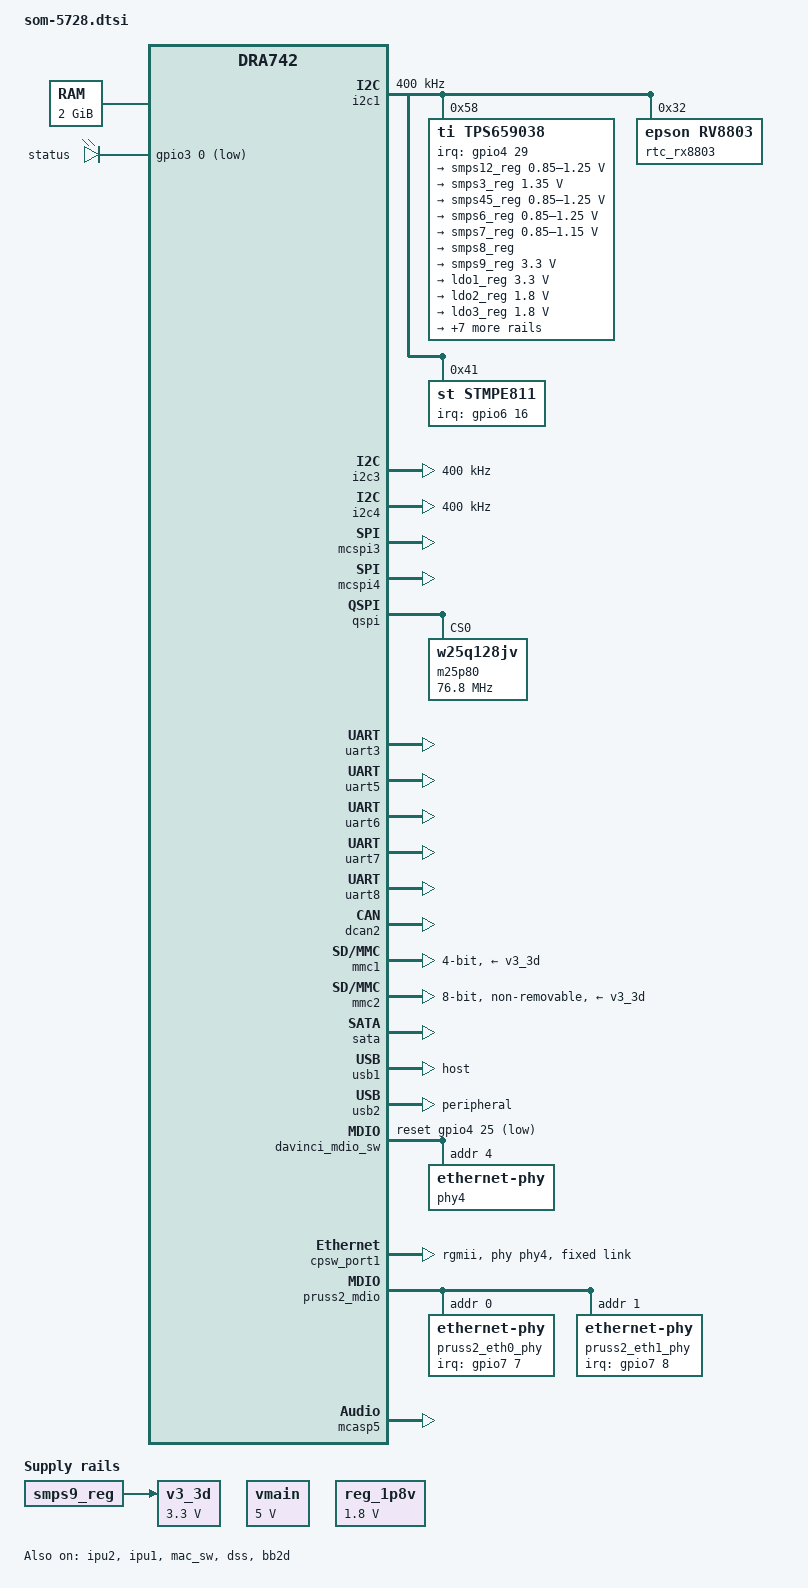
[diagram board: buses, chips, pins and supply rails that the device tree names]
/*
 * Copyright (C) 2014-2016 Texas Instruments Incorporated - http://www.ti.com/
 *
 * This program is free software; you can redistribute it and/or modify
 * it under the terms of the GNU General Public License version 2 as
 * published by the Free Software Foundation.
 */
/dts-v1/;

#include "am5728.dtsi"
#include "am57xx-commercial-grade.dtsi"

// #include "dra74x-mmc-iodelay.dtsi"
#include "som5728-mmc-iodelay.dtsi"

#include "dra74-ipu-dsp-common.dtsi"

#include <dt-bindings/gpio/gpio.h>
#include <dt-bindings/interrupt-controller/irq.h>

/ {
	compatible = "emac,som5728", "ti,am5728-idk", "ti,am5728", "ti,dra742", "ti,dra74", "ti,dra7";

	aliases {
		rtc0 = &rtc_rx8803;
		rtc1 = &tps659038_rtc;
		rtc2 = &rtc;
        qspi = &qspi;
		spi3 = &mcspi3;
		spi4 = &mcspi4;
        ethernet2 = &pruss2_emac0;
		ethernet3 = &pruss2_emac1;
        mmcblk0 = &mmc1;
        mmcblk1 = &mmc2;
	};

	chosen {
		stdout-path = &uart3;
	};

	memory@0 {
		device_type = "memory";
		reg = <0x0 0x80000000 0x0 0x80000000>;
	};
	
	reserved-memory {
		#address-cells = <2>;
		#size-cells = <2>;
		ranges;

		ipu2_memory_region: ipu2-memory@95800000 {
			compatible = "shared-dma-pool";
			reg = <0x0 0x95800000 0x0 0x3800000>;
			reusable;
			status = "okay";
		};

		dsp1_memory_region: dsp1-memory@99000000 {
			compatible = "shared-dma-pool";
			reg = <0x0 0x99000000 0x0 0x4000000>;
			reusable;
			status = "okay";
		};

		ipu1_memory_region: ipu1-memory@9d000000 {
			compatible = "shared-dma-pool";
			reg = <0x0 0x9d000000 0x0 0x2000000>;
			reusable;
			status = "okay";
		};

		dsp2_memory_region: dsp2-memory@9f000000 {
			compatible = "shared-dma-pool";
			reg = <0x0 0x9f000000 0x0 0x800000>;
			reusable;
			status = "okay";
		};
	};

	vmain: fixedregulator-vmain {
		compatible = "regulator-fixed";
		regulator-name = "VMAIN";
		regulator-min-microvolt = <5000000>;
		regulator-max-microvolt = <5000000>;
		regulator-always-on;
		regulator-boot-on;
	};

	v3_3d: fixedregulator-v3_3d {
		compatible = "regulator-fixed";
		regulator-name = "V3_3D";
		vin-supply = <&smps9_reg>;
		regulator-min-microvolt = <3300000>;
		regulator-max-microvolt = <3300000>;
		regulator-always-on;
		regulator-boot-on;
	};
	
	reg_1p8v: fixedregulator-reg_1p8v {
		compatible = "regulator-fixed";
		regulator-name = "1P8V";
		regulator-min-microvolt = <1800000>;
		regulator-max-microvolt = <1800000>;
		regulator-always-on;
	};
	

	leds {
		compatible = "gpio-leds";
		led0 {
			label = "status";
			gpios = <&gpio3 0 GPIO_ACTIVE_LOW>;
			linux,default-trigger = "heartbeat";
		};
	};
    
    
	/* Dual-MAC Ethernet application node on PRU-ICSS2 */
	pruss2_eth: pruss2_eth {
		compatible = "ti,am57-prueth";
		ti,prus = <&pru2_0>, <&pru2_1>;
		sram = <&ocmcram1>;
		mii-rt = <&pruss2_mii_rt>;
		iep = <&pruss2_iep>;
		interrupts = <20 2 2>, <21 3 3>;
		interrupt-names = "rx_lre_hp", "rx_lre_lp";
		interrupt-parent = <&pruss2_intc>;

		pruss2_emac0: ethernet-mii0 {
			phy-handle = <&pruss2_eth0_phy>;
			phy-mode = "mii";
			interrupts = <20 2 2>, <26 6 6>;
			interrupt-names = "rx", "emac_ptp_tx";
			ti,no-half-duplex;
			/* Filled in by bootloader */
			local-mac-address = [00 00 00 00 00 00];
		};

		pruss2_emac1: ethernet-mii1 {
			phy-handle = <&pruss2_eth1_phy>;
			phy-mode = "mii";
			interrupts = <21 3 3>, <27 9 7>;
			interrupt-names = "rx", "emac_ptp_tx";
			ti,no-half-duplex;
			/* Filled in by bootloader */
			local-mac-address = [00 00 00 00 00 00];
		};
	};
    
    
    sound0: sound0 {
        compatible = "simple-audio-card";
        simple-audio-card,name = "Som5728";
        simple-audio-card,widgets =
            "Line", "Line Out",
            "Line", "Line In";
        simple-audio-card,routing =
            "Line Out",	"LLOUT",
            "Line Out",	"RLOUT",
            "MIC2L",	"Line In",
            "MIC2R",	"Line In";
        simple-audio-card,format = "dsp_b";
        simple-audio-card,bitclock-master = <&sound0_master>;
        simple-audio-card,frame-master = <&sound0_master>;
        simple-audio-card,bitclock-inversion;

        simple-audio-card,cpu {
            sound-dai = <&mcasp8>;
        };

        sound0_master: simple-audio-card,codec {
//            sound-dai = <&tlv320>;
            clocks = <&clkout2_clk>;
        };


    };
};

&pruss2_iep {
	interrupt-parent = <&pruss2_intc>;
	interrupts = <7 7 8>;
	interrupt-names = "iep_cap_cmp";
};


/*
 * cpu
*/

&cpu0 {
	vdd-supply = <&smps12_reg>;
	voltage-tolerance = <1>;
};

&cpu_trips {
	cpu_alert1: cpu_alert1 {
		temperature = <50000>; /* millicelsius */
		hysteresis = <2000>; /* millicelsius */
		type = "active";
	};
};

/*
 * IPU/DSP
 */
&ipu2 {
	status = "okay";
	memory-region = <&ipu2_memory_region>;
};

&ipu1 {
	status = "okay";
	memory-region = <&ipu1_memory_region>;
};

&mmu0_dsp1 {
    status = "okay";
    memory-region = <&dsp1_memory_region>;
};

&mmu1_dsp1 {
    status = "okay";
    memory-region = <&dsp2_memory_region>;
};

/*
 * i2c
 */
&i2c1 {
	status = "okay";
	clock-frequency = <400000>;
        // pmic
	tps659038: tps659038@58 {
		compatible = "ti,tps659038";
		reg = <0x58>;
		interrupt-parent = <&gpio4>;
		interrupts = <29 IRQ_TYPE_LEVEL_LOW>;
		#interrupt-cells = <2>;
		interrupt-controller;

		ti,palmas-override-powerhold;
		ti,system-power-controller;

		tps659038_pmic {
			compatible = "ti,tps659038-pmic";
			smps12-in-supply = <&vmain>;
			smps3-in-supply = <&vmain>;
			smps45-in-supply = <&vmain>;
			smps6-in-supply = <&vmain>;
			smps7-in-supply = <&vmain>;
			smps8-in-supply = <&vmain>;
			smps9-in-supply = <&vmain>;
			ldo1-in-supply = <&vmain>;
			ldo2-in-supply = <&vmain>;
			ldo3-in-supply = <&vmain>;
			ldo4-in-supply = <&vmain>;
			ldo9-in-supply = <&vmain>;
			ldoln-in-supply = <&vmain>;
			ldousb-in-supply = <&vmain>;
			ldortc-in-supply = <&vmain>;

			regulators {
				smps12_reg: smps12 {
					/* VDD_MPU */
					regulator-name = "smps12";
					regulator-min-microvolt = < 850000>;
					regulator-max-microvolt = <1250000>;
					regulator-always-on;
					regulator-boot-on;
				};

				smps3_reg: smps3 {
					/* VDD_DDR */
					regulator-name = "smps3";
					regulator-min-microvolt = <1350000>;
					regulator-max-microvolt = <1350000>;
					regulator-always-on;
					regulator-boot-on;
				};

				smps45_reg: smps45 {
					/* VDD_DSPEVE */
					regulator-name = "smps45";
					regulator-min-microvolt = < 850000>;
					regulator-max-microvolt = <1250000>;
					regulator-always-on;
					regulator-boot-on;
				};

				smps6_reg: smps6 {
					/* VDD_GPU */
					regulator-name = "smps6";
					regulator-min-microvolt = <850000>;
					regulator-max-microvolt = <1250000>;
					regulator-always-on;
					regulator-boot-on;
				};

				/* SMPS7 unused */
				smps7_reg: smps7 {
					/* VDD_CORE */
					regulator-name = "smps7";
					regulator-min-microvolt = <850000>;
					regulator-max-microvolt = <1150000>;
					regulator-always-on;
					regulator-boot-on;
				};

				smps8_reg: smps8 {
					/* VDD_IVA */
					regulator-name = "smps8";
					//regulator-min-microvolt = <1800000>;
					//regulator-max-microvolt = <1800000>;
					//regulator-always-on;
					//regulator-boot-on;
				};

				/* SMPS9 unused */
				smps9_reg: smps9 {
					/* VDD_3V3 */
					regulator-name = "smps9";
					regulator-min-microvolt = <3300000>;
					regulator-max-microvolt = <3300000>;
					regulator-always-on;
					regulator-boot-on;
				};

				ldo1_reg: ldo1 {
					/* VDD_SD / VDDSHV8  */
					regulator-name = "ldo1";
					regulator-min-microvolt = <3300000>;
					regulator-max-microvolt = <3300000>;
					regulator-boot-on;
					regulator-always-on;
				};

				ldo2_reg: ldo2 {
					/* VDD_SHV5 */
					regulator-name = "ldo2";
					regulator-min-microvolt = <1800000>;
					regulator-max-microvolt = <1800000>;
					regulator-always-on;
					regulator-boot-on;
				};

				ldo3_reg: ldo3 {
					/* VDDA_1V8_PHYA */
					regulator-name = "ldo3";
					regulator-min-microvolt = <1800000>;
					regulator-max-microvolt = <1800000>;
					regulator-always-on;
					regulator-boot-on;
				};

				ldo4_reg: ldo4 {
					/* VDDA_1V8_PHYB */
					regulator-name = "ldo4";
					regulator-min-microvolt = <1800000>;
					regulator-max-microvolt = <1800000>;
					regulator-always-on;
					regulator-boot-on;
				};

				ldo9_reg: ldo9 {
					/* VDD_RTC */
					regulator-name = "ldo9";
					regulator-min-microvolt = <840000>;
					regulator-max-microvolt = <1160000>;
					regulator-always-on;
					regulator-boot-on;
				};

				ldoln_reg: ldoln {
					/* VDDA_1V8_PLL */
					regulator-name = "ldoln";
					regulator-min-microvolt = <1800000>;
					regulator-max-microvolt = <1800000>;
					regulator-always-on;
					regulator-boot-on;
				};

				ldousb_reg: ldousb {
					/* VDDA_3V_USB: VDDA_USBHS33 */
					regulator-name = "ldousb";
					regulator-min-microvolt = <3300000>;
					regulator-max-microvolt = <3300000>;
					regulator-boot-on;
				};
				
				ldortc_reg: ldortc {
					/* VDDA_RTC  */
					regulator-name = "ldortc";
					regulator-min-microvolt = <1800000>;
					regulator-max-microvolt = <1800000>;
					regulator-always-on;
					regulator-boot-on;
				};

				regen1: regen1 {
					/* VDD_3V3_ON */
					regulator-name = "regen1";
					regulator-boot-on;
					regulator-always-on;
				};
				
				regen2: regen2 {
					/* Needed for PMIC internal resource */
					regulator-name = "regen2";
					regulator-boot-on;
					regulator-always-on;
				};
			};
		};

		tps659038_rtc: tps659038_rtc {
			compatible = "ti,palmas-rtc";
			interrupt-parent = <&tps659038>;
			interrupts = <8 IRQ_TYPE_EDGE_FALLING>;
			wakeup-source;
		};

		tps659038_pwr_button: tps659038_pwr_button {
			compatible = "ti,palmas-pwrbutton";
			interrupt-parent = <&tps659038>;
			interrupts = <1 IRQ_TYPE_EDGE_FALLING>;
			wakeup-source;
			ti,palmas-long-press-seconds = <12>;
		};
        
#if 0 
        tps659038_gpio: tps659038_gpio {
			compatible = "ti,palmas-gpio";
			gpio-controller;
			#gpio-cells = <2>;
		};

#endif
		extcon_usb2: tps659038_usb {
			compatible = "ti,palmas-usb-vid";
			ti,enable-vbus-detection;
			// ti,enable-id-detection;
			vbus-id = <&gpio3 1 GPIO_ACTIVE_HIGH>;
		};
        
	};
	
	rtc_rx8803: rtc@32 {
		status = "okay";
		compatible = "epson,rv8803";
		reg = <0x32>;
	};
	
	stmpe811@41 {
		compatible = "st,stmpe811";
		reg = <0x41>;
		irq-gpio = <&gpio6 16 IRQ_TYPE_LEVEL_LOW>;
		interrupt-controller;
		id = <0>;
		blocks = <0x5>;
		irq-trigger = <0x1>;
		stmpe_adc {
			compatible = "st,stmpe-adc";
			st,norequest-mask = <0xF0>; /* mask any channels to be used by touchscreen */
		};

        // see 
        // Documentation/devicetree/bindings/input/touchscreen/stmpe.txt
		stmpe_touchscreen {
			compatible = "st,stmpe-ts";
			st,adc-freq = <2>;
			st,ave-ctrl = <2>;
			st,fraction-z = <7>;
			st,i-drive = <1>;
			st,mod-12b = <1>;
			st,ref-sel = <0>;
			st,sample-time = <3>;
			st,settling = <1>;
			st,touch-det-delay = <1>;
		};
	};
};
&i2c2{
    status = "disabled";
};

&i2c3 {
	// just goes to the cardedge only
	status = "okay";
	clock-frequency = <400000>;
};

&i2c4 {
	status = "okay";
	clock-frequency = <400000>;
};


/*
 * SPI interfaces
*/


&mcspi3 {
    status = "okay";
    ti,pindir-d0-out-d1-in;
};

&mcspi4 {
    status = "okay";
    ti,pindir-d0-out-d1-in;
};

&qspi {
	status = "okay";
	spi-max-frequency = <76800000>;
	m25p80@0 {
		compatible = "w25q128jv", "jedec,spi-nor";
		spi-max-frequency = <76800000>;
		reg = <0>;
		spi-tx-bus-width = <1>;
		spi-rx-bus-width = <4>;
		#address-cells = <1>;
		#size-cells = <1>;
	
        
        
        
        /* MTD partition table.
		 * The ROM checks the first four physical blocks
		 * for a valid file to boot and the flash here is
		 * 64KiB block size.
		partition@0 {
			label = "QSPI.SPL";
			reg = <0x00000000 0x000040000>;
		};
		partition@1 {
			label = "QSPI.u-boot";
			reg = <0x00040000 0x00100000>;
		};
		partition@2 {
			label = "QSPI.u-boot-spl-os";
			reg = <0x00140000 0x00080000>;
		};
		partition@3 {
			label = "QSPI.u-boot-env";
			reg = <0x001c0000 0x00010000>;
		};
		partition@4 {
			label = "QSPI.u-boot-env.backup1";
			reg = <0x001d0000 0x0010000>;
		};
		partition@5 {
			label = "QSPI.kernel";
			reg = <0x001e0000 0x0800000>;
		};
		partition@6 {
			label = "QSPI.file-system";
			reg = <0x009e0000 0x01620000>;
		};
		 */

    };
};

/*
 * UART
 */
&uart1 {
	status = "disabled";
};

&uart2 {
	status = "disabled";
};

// console
&uart3 {
	status = "okay";
	interrupts-extended = <&crossbar_mpu GIC_SPI 69 IRQ_TYPE_LEVEL_HIGH>, <&dra7_pmx_core 0x3f8>;
};

&uart5 {
	status = "okay";
};

&uart6 {
	status = "okay";
};

&uart7 {
	status = "okay";
};

&uart8 {
	status = "okay";
};

/*
 * Can
 */
&dcan2 {
    status = "okay";
    pinctrl-names = "default";
    pinctrl-0 = <&dcan1_pins_default>;
};

&dcan2 {
    status = "okay";
    pinctrl-names = "default";
    pinctrl-0 = <&dcan2_pins_default>;
};

&mmc1 {
    status = "okay";
    max-frequency = <48000000>;
    pinctrl-names = "default";
    pinctrl-0 = <&mmc1_pins_default>;
    bus-width = <4>;
    vmmc-supply = <&v3_3d>;
    vqmmc-supply = <&ldo1_reg>;
    no-1-8-v;
};


&mmc2 {
    status = "okay";
    max-frequency = <96000000>;
    pinctrl-names = "default";
    pinctrl-0 = <&mmc2_pins_default>;
    vmmc-supply = <&v3_3d>;
    vqmmc-supply = <&v3_3d>;
    bus-width = <8>;
    non-removable;
    no-1-8-v;
};


&sata {
	status = "okay";
};


&usb1 {
	dr_mode = "host";
};

&usb2 {
    dr_mode = "peripheral";
//    dr_mode = "host";
};

&mac_sw {
    status = "okay";
    slaves = <1>;
};

&davinci_mdio_sw {
    reset-gpios = <&gpio4 25 GPIO_ACTIVE_LOW>;
    reset-delay-us = <2>;
    phy4: ethernet-phy@4 {
            reg = <4>;
    };
};

&cpsw_port1 {
    phy-handle = <&phy4>;
    phy-mode = "rgmii";
    ti,dual-emac-pvid = <1>;
    dual_emac_res_vlan = <1>;
    fixed-link {
        speed = <1000>;
        full-duplex;
    };
};

&cpsw_port2 {
    status = "disabled";
    phy-handle = <&phy4>;
    phy-mode = "rgmii";
    dual_emac_res_vlan = <2>;
    ti,dual-emac-pvid = <2>;
};


&pruss2_mdio {
    status = "okay";
    pruss2_eth0_phy: ethernet-phy@0 {
        reg = <0>;
        interrupt-parent = <&gpio7>;
        interrupts = <7 IRQ_TYPE_EDGE_FALLING>;
    };

    pruss2_eth1_phy: ethernet-phy@1 {
        reg = <1>;
        interrupt-parent = <&gpio7>;
        interrupts = <8 IRQ_TYPE_EDGE_FALLING>;
    };
};

&usb2_phy1 {
	phy-supply = <&ldousb_reg>;
};

&usb2_phy2 {
	phy-supply = <&ldousb_reg>;
};

//&omap_dwc3_2 {
//	extcon = <&extcon_usb2>;
//};

&dss {
	status = "ok";
	vdda_video-supply = <&ldoln_reg>;
	ports {
		#address-cells = <1>;
		#size-cells = <0>;
		port@2 {
			reg = <2>;
			lcd_out: endpoint {
				remote-endpoint = <&lvds_encoder_input>;
				data-lines = <18>;
			};
		};
	};
};



&mcasp5 {
    status = "okay";
    #sound-dai-cells = <0>;
    op-mode = <0>;	/* MCASP_IIS_MODE */
    tdm-slots = <2>;
	/* 4 serializers 
     * 0: INACTIVE, 1: TX, 2: RX 
    */
    serial-dir = < 1 2 0 0 >;
    tx-num-evt = <32>;
    rx-num-evt = <32>;
};

&mcasp8 {
    #sound-dai-cells = <0>;
    assigned-clocks = <&l4per_clkctrl DRA7_MCASP8_CLKCTRL 24>;
    assigned-clock-parents = <&sys_clkin2>;
    op-mode = <0>;	
    tdm-slots = <2>;
    serial-dir = < 1 2 0 0 >;
    tx-num-evt = <32>;
    rx-num-evt = <32>;
};

#if 0 
&mailbox5 {
	status = "okay";
	mbox_ipu1_ipc3x: mbox_ipu1_ipc3x {
		status = "okay";
	};
	mbox_dsp1_ipc3x: mbox_dsp1_ipc3x {
		status = "okay";
	};
};

&mailbox6 {
	status = "okay";
	mbox_ipu2_ipc3x: mbox_ipu2_ipc3x {
		status = "okay";
	};
	mbox_dsp2_ipc3x: mbox_dsp2_ipc3x {
		status = "okay";
	};
};

#endif


&gpio7 {
	ti,no-reset-on-init;
	ti,no-idle-on-init;
};

&bb2d {
    status = "okay";
};
